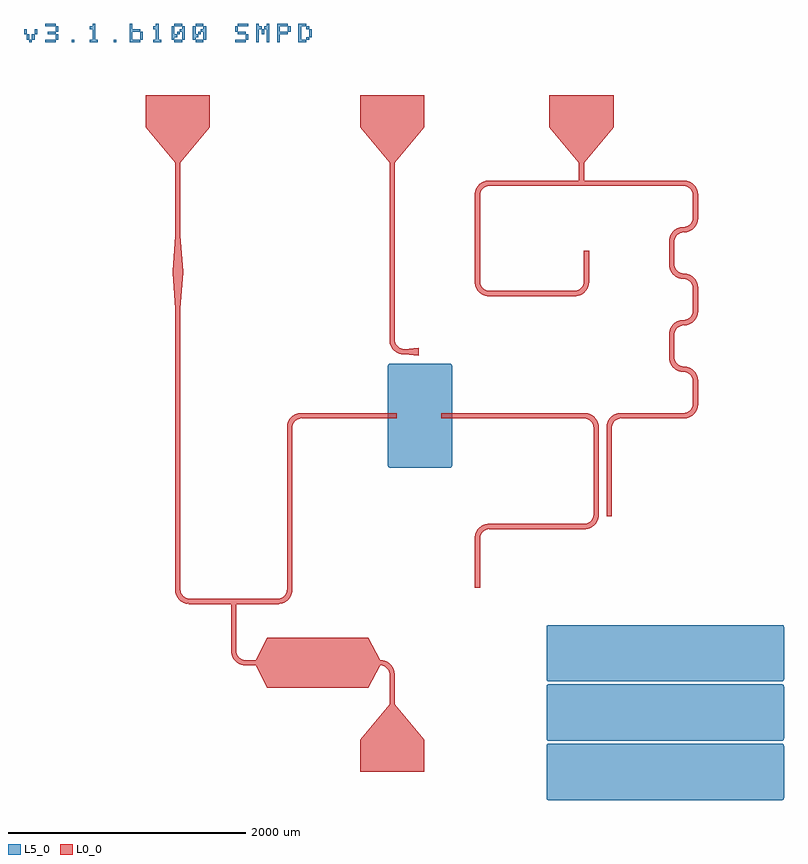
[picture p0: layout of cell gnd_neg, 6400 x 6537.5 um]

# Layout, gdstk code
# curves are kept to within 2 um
import gdstk
lib = gdstk.Library(unit=1e-6, precision=1e-09)
def R(c, l, rs):  # rectangles x0, y0, x1, y1
    for r in rs: c.add(gdstk.rectangle(r[:2], r[2:], *l))
def A(c, l, x, y, w, h, nx, ny, dx, dy):  # array of equal rectangles
    R(c, l, [(x+i*dx, y+j*dy, x+i*dx+w, y+j*dy+h) for i in range(nx) for j in range(ny)])
def P(c, l, *ps):  # polygons
    for p in ps: c.add(gdstk.Polygon(p, *l))
L0_0 = (0, 0)
L5_0 = (5, 0)

gnd_neg = lib.new_cell('gnd_neg')
A(gnd_neg, L0_0, 6032.612, 3600, 44, 191.6, 1, 3, 0, 783.2)
R(gnd_neg, L0_0, [(3230,500,3770,770), (3479,1070,3521,1320), (2450,1210,3300,1630), (2265.95,1399,2350,1441), (2144.95,1520,2186.95,1909.109), (1795,1914.109,2536.9,1958.109), (1673,2036.109,1717,4402.08), (2614.9,2036.109,2658.9,3400), (4196.1,2051.239,4240.1,2467), (4318.1,2545,5118.1,2589), (5306.1,2655,5350.1,3400), (5196.1,2667,5240.1,3400), (2736.9,3478,3539.9,3522), (3915.1,3478,5118.1,3522), (5428.1,3478,5954.612,3522), (5832.612,3991.6,5876.612,4183.2), (3478,4138.8,3522,5630), (4318.1,4507,5036.356,4551), (4196.1,4629,4240.1,5358), (5114.356,4629,5158.356,4878.605), (1651,4702.08,1739,4715.08), (1651,4702.08,1739,4714.08), (5832.612,4774.8,5876.612,4966.4), (5114.356,4878.605,5158.356,4890.605), (1673,5015.08,1717,5458), (4318.1,5436,5095,5480), (5095,5436,5954.612,5480), (1673,5458,1717,5630), (5073,5458,5117,5630), (1425,5930,1965,6200), (3230,5930,3770,6200), (4825,5930,5365,6200)])
P(gnd_neg, L0_0, [(3478,5630),(3230,5930),(3770,5930),(3522,5630)],
  [(3600,4016.8),(3578.128,4018.777),(3554.039,4025.788),(3531.894,4037.579),(3514.851,4051.429),(3498.779,4070.694),(3486.988,4092.839),(3479.977,4116.928),(3478,4138.8),(3522,4138.8),(3527.747,4109.415),(3544.14,4084.36),(3568.765,4067.327),(3600,4060.8)],
  [(3724,4004.8),(3600,4016.8),(3600,4060.8),(3724,4072.8)],
  [(3230,770),(3479,1070),(3521,1070),(3770,770)],
  [(3479,1320),(3473.18,1349.762),(3456.576,1375.138),(3429.762,1393.18),(3400,1399),(3400,1441),(3430.815,1437.01),(3459.598,1425.305),(3482.192,1408.8),(3502.097,1384.94),(3516.178,1353.818),(3521,1320)],
  [(3300,1210),(3300,1630),(3400,1441),(3400,1399)],
  [(2450,1210),(2350,1399),(2350,1441),(2450,1630)],
  [(2265.95,1399),(2241.199,1401.558),(2220.366,1407.915),(2201.01,1417.903),(2181.499,1433.346),(2165.559,1452.453),(2153.865,1474.416),(2147.508,1495.249),(2144.95,1520),(2186.95,1520),(2192.77,1490.238),(2209.374,1464.862),(2236.188,1446.82),(2265.95,1441)],
  [(1673,5630),(1425,5930),(1965,5930),(1717,5630)],
  [(1651,4715.08),(1673,5015.08),(1717,5015.08),(1739,4715.08)],
  [(2614.9,3400),(2616.877,3421.872),(2623.888,3445.961),(2635.679,3468.106),(2649.529,3485.149),(2668.794,3501.221),(2690.939,3513.012),(2715.028,3520.023),(2736.9,3522),(2736.9,3478),(2707.515,3472.253),(2682.46,3455.86),(2665.427,3431.235),(2658.9,3400)],
  [(2536.9,1914.109),(2536.9,1958.109),(2566.285,1963.856),(2591.34,1980.25),(2608.373,2004.874),(2614.9,2036.109),(2658.9,2036.109),(2656.923,2014.237),(2649.912,1990.149),(2638.121,1968.004),(2624.271,1950.96),(2605.006,1934.889),(2582.861,1923.098),(2558.772,1916.086)],
  [(1795,1914.109),(1773.128,1916.086),(1749.039,1923.098),(1726.894,1934.889),(1707.629,1950.96),(1693.779,1968.004),(1681.988,1990.149),(1674.977,2014.237),(1673,2036.109),(1717,2036.109),(1722.747,2006.725),(1739.14,1981.67),(1765.615,1963.856),(1795,1958.109)],
  [(1673,4402.08),(1651,4702.08),(1739,4702.08),(1717,4402.08)],
  [(5196.1,3400),(5190.353,3429.385),(5173.96,3454.44),(5149.335,3471.473),(5118.1,3478),(5118.1,3522),(5149.17,3517.977),(5178.191,3506.175),(5203.249,3487.371),(5221.041,3465.477),(5235.238,3434.097),(5240.1,3400)],
  [(5118.1,2545),(5118.1,2589),(5147.485,2594.747),(5172.54,2611.14),(5189.573,2635.765),(5196.1,2667),(5240.1,2667),(5238.123,2645.128),(5231.112,2621.039),(5219.321,2598.894),(5205.471,2581.851),(5186.206,2565.779),(5164.061,2553.988),(5139.972,2546.977)],
  [(4196.1,2467),(4198.077,2488.872),(4205.088,2512.961),(4216.879,2535.106),(4230.729,2552.149),(4249.994,2568.221),(4272.139,2580.012),(4296.228,2587.023),(4318.1,2589),(4318.1,2545),(4288.715,2539.253),(4263.66,2522.86),(4246.627,2498.235),(4240.1,2467)],
  [(5073,5630),(4825,5930),(5365,5930),(5117,5630)],
  [(5306.1,3400),(5308.077,3421.872),(5315.088,3445.961),(5326.879,3468.106),(5340.729,3485.149),(5359.994,3501.221),(5382.139,3513.012),(5406.228,3520.023),(5428.1,3522),(5428.1,3478),(5398.715,3472.253),(5373.66,3455.86),(5356.627,3431.235),(5350.1,3400)],
  [(5954.612,3478),(5954.612,3522),(5983.997,3527.747),(6009.052,3544.14),(6026.085,3568.765),(6032.612,3600),(6076.612,3600),(6074.635,3578.128),(6067.624,3554.039),(6055.833,3531.894),(6041.983,3514.851),(6022.718,3498.779),(6000.573,3486.988),(5976.484,3479.977)],
  [(6032.612,3791.6),(6026.865,3820.985),(6010.472,3846.04),(5985.847,3863.073),(5954.612,3869.6),(5954.612,3913.6),(5985.682,3909.577),(6014.703,3897.775),(6039.761,3878.971),(6057.553,3857.077),(6071.75,3825.697),(6076.612,3791.6)],
  [(5954.612,3869.6),(5932.74,3871.577),(5908.651,3878.588),(5886.506,3890.379),(5869.463,3904.229),(5853.391,3923.494),(5841.6,3945.639),(5834.589,3969.728),(5832.612,3991.6),(5876.612,3991.6),(5882.359,3962.215),(5898.752,3937.16),(5923.377,3920.127),(5954.612,3913.6)],
  [(5832.612,4183.2),(5834.589,4205.072),(5841.6,4229.161),(5853.391,4251.306),(5867.241,4268.349),(5886.506,4284.421),(5908.651,4296.212),(5932.74,4303.223),(5954.612,4305.2),(5954.612,4261.2),(5925.227,4255.453),(5900.172,4239.06),(5883.139,4214.435),(5876.612,4183.2)],
  [(5954.612,4261.2),(5954.612,4305.2),(5983.997,4310.947),(6009.052,4327.34),(6026.085,4351.965),(6032.612,4383.2),(6076.612,4383.2),(6074.635,4361.328),(6067.624,4337.239),(6055.833,4315.094),(6041.983,4298.051),(6022.718,4281.979),(6000.573,4270.188),(5976.484,4263.177)],
  [(6032.612,4574.8),(6026.865,4604.185),(6010.472,4629.24),(5985.847,4646.273),(5954.612,4652.8),(5954.612,4696.8),(5985.682,4692.777),(6014.703,4680.975),(6039.761,4662.171),(6057.553,4640.277),(6071.75,4608.897),(6076.612,4574.8)],
  [(5954.612,4652.8),(5932.74,4654.777),(5908.651,4661.788),(5886.506,4673.579),(5869.463,4687.429),(5853.391,4706.694),(5841.6,4728.839),(5834.589,4752.928),(5832.612,4774.8),(5876.612,4774.8),(5882.359,4745.415),(5898.752,4720.36),(5923.377,4703.327),(5954.612,4696.8)],
  [(5832.612,4966.4),(5834.589,4988.272),(5841.6,5012.361),(5853.391,5034.506),(5867.241,5051.549),(5886.506,5067.621),(5908.651,5079.412),(5932.74,5086.423),(5954.612,5088.4),(5954.612,5044.4),(5925.227,5038.653),(5900.172,5022.26),(5883.139,4997.635),(5876.612,4966.4)],
  [(5954.612,5044.4),(5954.612,5088.4),(5983.997,5094.147),(6009.052,5110.54),(6026.085,5135.165),(6032.612,5166.4),(6076.612,5166.4),(6074.635,5144.528),(6067.624,5120.439),(6055.833,5098.294),(6041.983,5081.251),(6022.718,5065.179),(6000.573,5053.388),(5976.484,5046.377)],
  [(6032.612,5358),(6026.865,5387.385),(6010.472,5412.44),(5985.847,5429.473),(5954.612,5436),(5954.612,5480),(5985.682,5475.977),(6014.703,5464.175),(6039.761,5445.371),(6057.553,5423.477),(6071.75,5392.097),(6076.612,5358)],
  [(4196.1,5358),(4198.077,5379.872),(4205.088,5403.961),(4216.879,5426.106),(4230.729,5443.149),(4249.994,5459.221),(4272.139,5471.012),(4296.228,5478.023),(4318.1,5480),(4318.1,5436),(4288.715,5430.253),(4263.66,5413.86),(4246.627,5389.235),(4240.1,5358)],
  [(4318.1,4507),(4296.228,4508.977),(4272.139,4515.988),(4249.994,4527.779),(4232.951,4541.629),(4216.879,4560.894),(4205.088,4583.039),(4198.077,4607.128),(4196.1,4629),(4240.1,4629),(4245.847,4599.615),(4262.24,4574.56),(4286.865,4557.527),(4318.1,4551)],
  [(5036.356,4507),(5036.356,4551),(5065.741,4556.747),(5090.796,4573.14),(5107.829,4597.765),(5114.356,4629),(5158.356,4629),(5156.379,4607.128),(5149.368,4583.039),(5137.577,4560.894),(5123.727,4543.851),(5104.462,4527.779),(5082.317,4515.988),(5058.228,4508.977)])
R(gnd_neg, L5_0, [(444.444,6644.444,466.667,6666.667), (800,6644.444,822.222,6666.667), (1155.556,6644.444,1177.778,6666.667), (2777.778,6666.667,2800,6688.889), (1688.889,6711.111,1711.111,6733.333), (1866.667,6711.111,1888.889,6733.333), (2777.778,6755.556,2800,6777.778)])
P(gnd_neg, L5_0, [(3485,3062.5),(3470.858,3068.358),(3465,3082.5),(3465,3917.5),(3467.513,3927.206),(3475.294,3934.987),(3485,3937.5),(3985,3937.5),(3995.282,3934.655),(4002.155,3927.782),(4005,3917.5),(4005,3082.5),(4002.155,3072.218),(3995.282,3065.345),(3985,3062.5)],
  [(4820,262.5),(4805.858,268.358),(4800,282.5),(4800.026,718.513),(4804.184,729.742),(4814.987,736.862),(6780,737.5),(6792.688,732.96),(6799.401,722.36),(6799.976,281.519),(6795.46,269.812),(6784.86,263.099)],
  [(4820,762.5),(4805.858,768.358),(4800,782.5),(4800.026,1218.513),(4804.184,1229.742),(4814.987,1236.862),(6780,1237.5),(6792.688,1232.96),(6799.401,1222.36),(6799.976,781.519),(6795.46,769.812),(6784.86,763.099)],
  [(4820,1262.5),(4805.858,1268.358),(4800,1282.5),(4800.026,1718.513),(4804.184,1729.742),(4814.987,1736.862),(6780,1737.5),(6792.688,1732.96),(6799.401,1722.36),(6799.976,1281.519),(6795.46,1269.812),(6784.86,1263.099)],
  [(400,6711.111),(400,6733.333),(400,6755.556),(422.222,6755.556),(422.222,6733.333),(422.222,6711.111)],
  [(422.222,6666.667),(422.222,6688.889),(422.222,6711.111),(444.444,6711.111),(444.444,6688.889),(444.444,6666.667)],
  [(466.667,6666.667),(466.667,6688.889),(466.667,6711.111),(488.889,6711.111),(488.889,6688.889),(488.889,6666.667)],
  [(488.889,6711.111),(488.889,6733.333),(488.889,6755.556),(511.111,6755.556),(511.111,6733.333),(511.111,6711.111)],
  [(577.778,6644.444),(577.778,6666.667),(600,6666.667),(622.222,6666.667),(644.444,6666.667),(666.667,6666.667),(666.667,6644.444),(644.444,6644.444),(622.222,6644.444),(600,6644.444)],
  [(577.778,6777.778),(577.778,6800),(600,6800),(622.222,6800),(644.444,6800),(666.667,6800),(666.667,6777.778),(644.444,6777.778),(622.222,6777.778),(600,6777.778)],
  [(600,6711.111),(600,6733.333),(622.222,6733.333),(644.444,6733.333),(666.667,6733.333),(666.667,6711.111),(644.444,6711.111),(622.222,6711.111)],
  [(666.667,6666.667),(666.667,6688.889),(666.667,6711.111),(688.889,6711.111),(688.889,6688.889),(688.889,6666.667)],
  [(666.667,6733.333),(666.667,6755.556),(666.667,6777.778),(688.889,6777.778),(688.889,6755.556),(688.889,6733.333)],
  [(955.556,6644.444),(955.556,6666.667),(977.778,6666.667),(977.778,6688.889),(977.778,6711.111),(977.778,6733.333),(977.778,6755.556),(955.556,6755.556),(955.556,6777.778),(977.778,6777.778),(977.778,6800),(1000,6800),(1000,6777.778),(1000,6755.556),(1000,6733.333),(1000,6711.111),(1000,6688.889),(1000,6666.667),(1022.222,6666.667),(1022.222,6644.444),(1000,6644.444),(977.778,6644.444)],
  [(1288.889,6644.444),(1288.889,6666.667),(1288.889,6688.889),(1288.889,6711.111),(1288.889,6733.333),(1288.889,6755.556),(1288.889,6777.778),(1288.889,6800),(1311.111,6800),(1311.111,6777.778),(1311.111,6755.556),(1333.333,6755.556),(1355.556,6755.556),(1377.778,6755.556),(1377.778,6733.333),(1355.556,6733.333),(1333.333,6733.333),(1311.111,6733.333),(1311.111,6711.111),(1311.111,6688.889),(1311.111,6666.667),(1333.333,6666.667),(1355.556,6666.667),(1377.778,6666.667),(1377.778,6644.444),(1355.556,6644.444),(1333.333,6644.444),(1311.111,6644.444)],
  [(1377.778,6666.667),(1377.778,6688.889),(1377.778,6711.111),(1377.778,6733.333),(1400,6733.333),(1400,6711.111),(1400,6688.889),(1400,6666.667)],
  [(1488.889,6644.444),(1488.889,6666.667),(1511.111,6666.667),(1511.111,6688.889),(1511.111,6711.111),(1511.111,6733.333),(1511.111,6755.556),(1488.889,6755.556),(1488.889,6777.778),(1511.111,6777.778),(1511.111,6800),(1533.333,6800),(1533.333,6777.778),(1533.333,6755.556),(1533.333,6733.333),(1533.333,6711.111),(1533.333,6688.889),(1533.333,6666.667),(1555.556,6666.667),(1555.556,6644.444),(1533.333,6644.444),(1511.111,6644.444)],
  [(1644.444,6666.667),(1644.444,6688.889),(1644.444,6711.111),(1644.444,6733.333),(1644.444,6755.556),(1644.444,6777.778),(1666.667,6777.778),(1666.667,6755.556),(1666.667,6733.333),(1666.667,6711.111),(1688.889,6711.111),(1688.889,6688.889),(1666.667,6688.889),(1666.667,6666.667)],
  [(1666.667,6644.444),(1666.667,6666.667),(1688.889,6666.667),(1711.111,6666.667),(1733.333,6666.667),(1733.333,6644.444),(1711.111,6644.444),(1688.889,6644.444)],
  [(1666.667,6777.778),(1666.667,6800),(1688.889,6800),(1711.111,6800),(1733.333,6800),(1733.333,6777.778),(1711.111,6777.778),(1688.889,6777.778)],
  [(1733.333,6666.667),(1733.333,6688.889),(1733.333,6711.111),(1733.333,6733.333),(1711.111,6733.333),(1711.111,6755.556),(1733.333,6755.556),(1733.333,6777.778),(1755.556,6777.778),(1755.556,6755.556),(1755.556,6733.333),(1755.556,6711.111),(1755.556,6688.889),(1755.556,6666.667)],
  [(1822.222,6666.667),(1822.222,6688.889),(1822.222,6711.111),(1822.222,6733.333),(1822.222,6755.556),(1822.222,6777.778),(1844.444,6777.778),(1844.444,6755.556),(1844.444,6733.333),(1844.444,6711.111),(1866.667,6711.111),(1866.667,6688.889),(1844.444,6688.889),(1844.444,6666.667)],
  [(1844.444,6644.444),(1844.444,6666.667),(1866.667,6666.667),(1888.889,6666.667),(1911.111,6666.667),(1911.111,6644.444),(1888.889,6644.444),(1866.667,6644.444)],
  [(1844.444,6777.778),(1844.444,6800),(1866.667,6800),(1888.889,6800),(1911.111,6800),(1911.111,6777.778),(1888.889,6777.778),(1866.667,6777.778)],
  [(1911.111,6666.667),(1911.111,6688.889),(1911.111,6711.111),(1911.111,6733.333),(1888.889,6733.333),(1888.889,6755.556),(1911.111,6755.556),(1911.111,6777.778),(1933.333,6777.778),(1933.333,6755.556),(1933.333,6733.333),(1933.333,6711.111),(1933.333,6688.889),(1933.333,6666.667)],
  [(2177.778,6644.444),(2177.778,6666.667),(2200,6666.667),(2222.222,6666.667),(2244.444,6666.667),(2266.667,6666.667),(2266.667,6644.444),(2244.444,6644.444),(2222.222,6644.444),(2200,6644.444)],
  [(2177.778,6733.333),(2177.778,6755.556),(2177.778,6777.778),(2200,6777.778),(2200,6755.556),(2200,6733.333)],
  [(2200,6711.111),(2200,6733.333),(2222.222,6733.333),(2244.444,6733.333),(2266.667,6733.333),(2266.667,6711.111),(2244.444,6711.111),(2222.222,6711.111)],
  [(2200,6777.778),(2200,6800),(2222.222,6800),(2244.444,6800),(2266.667,6800),(2288.889,6800),(2288.889,6777.778),(2266.667,6777.778),(2244.444,6777.778),(2222.222,6777.778)],
  [(2266.667,6666.667),(2266.667,6688.889),(2266.667,6711.111),(2288.889,6711.111),(2288.889,6688.889),(2288.889,6666.667)],
  [(2355.556,6644.444),(2355.556,6666.667),(2355.556,6688.889),(2355.556,6711.111),(2355.556,6733.333),(2355.556,6755.556),(2355.556,6777.778),(2355.556,6800),(2377.778,6800),(2377.778,6777.778),(2400,6777.778),(2400,6755.556),(2377.778,6755.556),(2377.778,6733.333),(2377.778,6711.111),(2377.778,6688.889),(2377.778,6666.667),(2377.778,6644.444)],
  [(2400,6711.111),(2400,6733.333),(2400,6755.556),(2422.222,6755.556),(2422.222,6733.333),(2422.222,6711.111)],
  [(2444.444,6644.444),(2444.444,6666.667),(2444.444,6688.889),(2444.444,6711.111),(2444.444,6733.333),(2444.444,6755.556),(2422.222,6755.556),(2422.222,6777.778),(2444.444,6777.778),(2444.444,6800),(2466.667,6800),(2466.667,6777.778),(2466.667,6755.556),(2466.667,6733.333),(2466.667,6711.111),(2466.667,6688.889),(2466.667,6666.667),(2466.667,6644.444)],
  [(2533.333,6644.444),(2533.333,6666.667),(2533.333,6688.889),(2533.333,6711.111),(2533.333,6733.333),(2533.333,6755.556),(2533.333,6777.778),(2533.333,6800),(2555.556,6800),(2577.778,6800),(2600,6800),(2622.222,6800),(2622.222,6777.778),(2600,6777.778),(2577.778,6777.778),(2555.556,6777.778),(2555.556,6755.556),(2555.556,6733.333),(2577.778,6733.333),(2600,6733.333),(2622.222,6733.333),(2622.222,6711.111),(2600,6711.111),(2577.778,6711.111),(2555.556,6711.111),(2555.556,6688.889),(2555.556,6666.667),(2555.556,6644.444)],
  [(2622.222,6733.333),(2622.222,6755.556),(2622.222,6777.778),(2644.444,6777.778),(2644.444,6755.556),(2644.444,6733.333)],
  [(2711.111,6644.444),(2711.111,6666.667),(2711.111,6688.889),(2711.111,6711.111),(2711.111,6733.333),(2711.111,6755.556),(2711.111,6777.778),(2711.111,6800),(2733.333,6800),(2755.556,6800),(2777.778,6800),(2777.778,6777.778),(2755.556,6777.778),(2733.333,6777.778),(2733.333,6755.556),(2733.333,6733.333),(2733.333,6711.111),(2733.333,6688.889),(2733.333,6666.667),(2755.556,6666.667),(2777.778,6666.667),(2777.778,6644.444),(2755.556,6644.444),(2733.333,6644.444)],
  [(2800,6688.889),(2800,6711.111),(2800,6733.333),(2800,6755.556),(2822.222,6755.556),(2822.222,6733.333),(2822.222,6711.111),(2822.222,6688.889)])

lib.write_gds('gnd_neg.gds')
